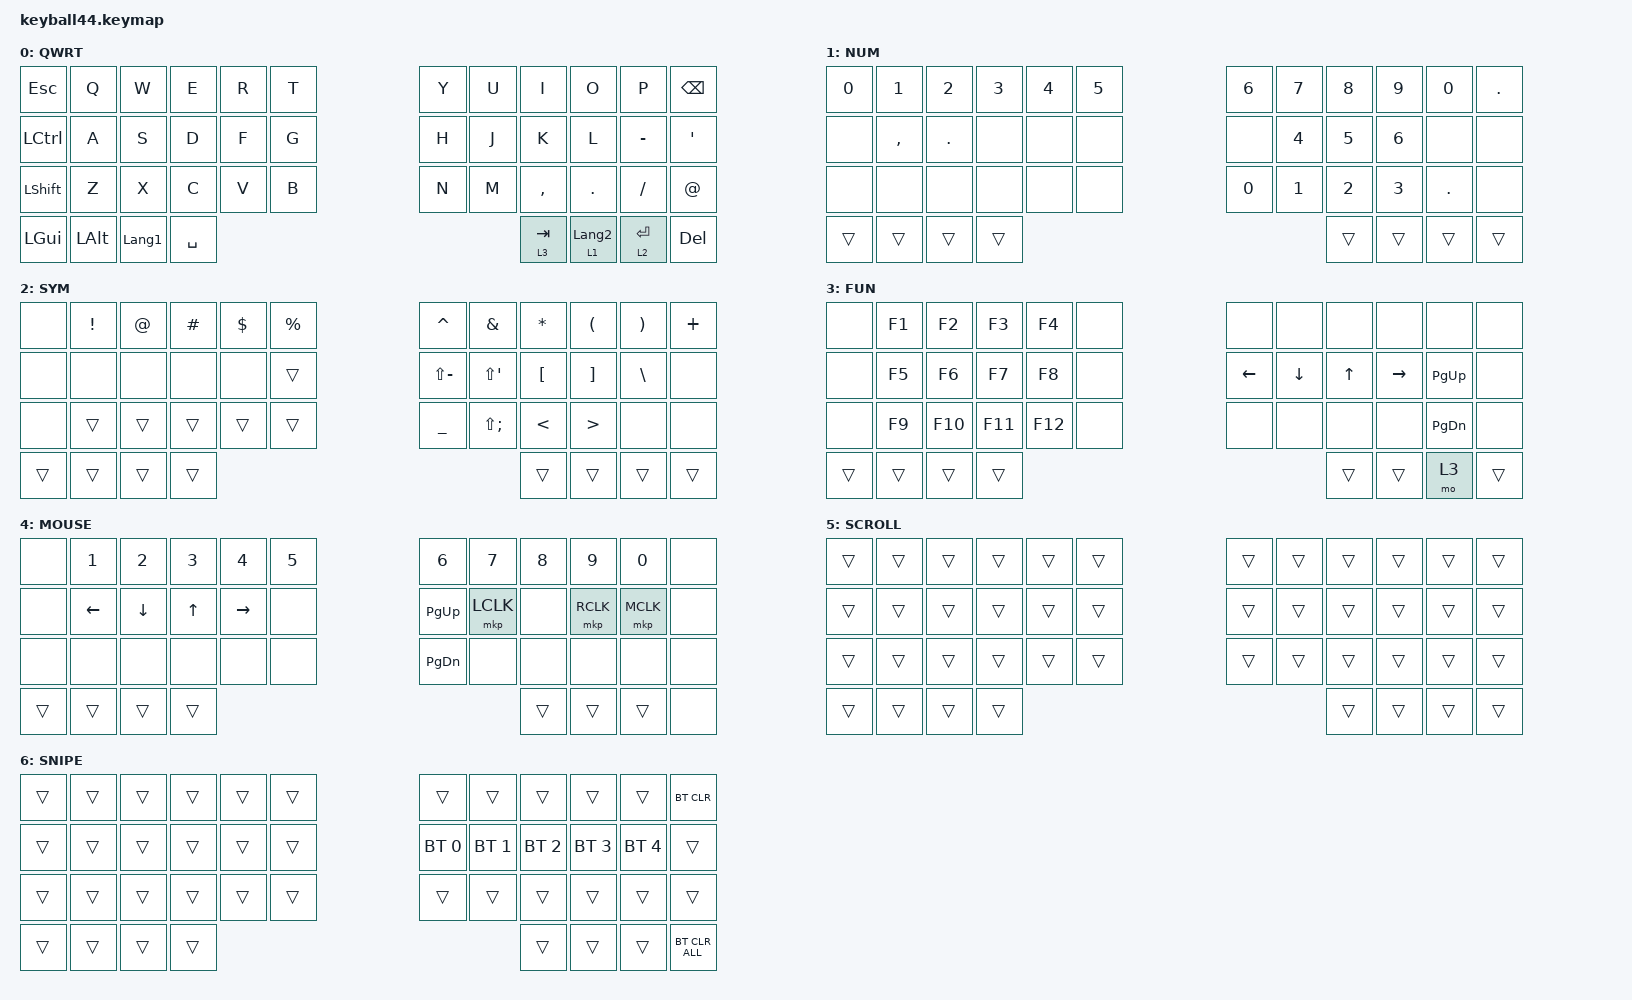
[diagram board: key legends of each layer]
#define DEFAULT 0
#define NUM     1
#define SYM     2
#define FUN     3
#define MOUSE   4
#define SCROLL  5
#define SNIPE   6

#include <behaviors/mouse_keys.dtsi>
#include <dt-bindings/zmk/mouse.h>
#include <behaviors.dtsi>
#include <dt-bindings/zmk/bt.h>
#include <dt-bindings/zmk/keys.h>
#include <dt-bindings/zmk/pointing.h>

&lt {
    tapping-term-ms = <240>;
    flavor = "balanced";
    quick-tap-ms = <150>;
};

&mt {
    tapping-term-ms = <200>;
    flavor = "tap-preferred";
    quick-tap-ms = <150>;
};

&caps_word { continue-list = <UNDERSCORE MINUS>; };

/ {
    // custom shift using mod-morph 

    behaviors {
        cmqus: comma_question {
            compatible = "zmk,behavior-mod-morph";
            label = "COMMA_QUESTION";
            #binding-cells = <0>;
            bindings = <&kp COMMA>, <&kp QUESTION>;

            mods = <(MOD_LSFT|MOD_RSFT)>;
        };

        dtsmi: dot_semi {
            compatible = "zmk,behavior-mod-morph";
            label = "DOT_SEMI";
            #binding-cells = <0>;
            bindings = <&kp DOT>, <&kp SEMI>;

            mods = <(MOD_LSFT|MOD_RSFT)>;
        };
    };

    combos {
        compatible = "zmk,combos";

        LClick {
            bindings = <&mkp LCLK>;
            key-positions = <19 20>;
        };

        RClick {
            bindings = <&mkp RCLK>;
            key-positions = <20 21>;
        };

        Tab {
            bindings = <&kp TAB>;
            key-positions = <2 1>;
        };

        BTControl {
            bindings = <&mo 6>;
            key-positions = <38 42>;
        };

        LRClick {
            bindings = <&mkp LCLK>;
            key-positions = <16 15>;
        };

        LLClick {
            bindings = <&mkp RCLK>;
            key-positions = <15 14>;
        };

        LMClick {
            bindings = <&mkp MCLK>;
            key-positions = <16 15 14>;
        };
    };

    keymap {
        compatible = "zmk,keymap";

        default_layer {
            label = "QWRT";
            bindings = <
&kp ESCAPE        &kp Q     &kp W           &kp E      &kp R      &kp T                        &kp Y        &kp U  &kp I      &kp O    &kp P      &kp BACKSPACE
&kp LEFT_CONTROL  &kp A     &kp S           &kp D      &kp F      &kp G                        &kp H        &kp J  &kp K      &kp L    &kp MINUS  &kp SQT
&kp LEFT_SHIFT    &kp Z     &kp X           &kp C      &kp V      &kp B                        &kp N        &kp M  &kp COMMA  &kp DOT  &kp SLASH  &kp AT
&kp LGUI          &kp LALT  &kp LANGUAGE_1  &kp SPACE  &lt 3 TAB             &lt 1 LANGUAGE_2  &lt 2 ENTER                                        &kp DELETE
            >;
        };

        number_layer {
            label = "NUM";
            bindings = <
&kp NUMBER_0  &kp NUMBER_1  &kp NUMBER_2  &kp NUMBER_3  &kp NUMBER_4  &kp NUMBER_5              &kp NUMBER_6  &kp NUMBER_7  &kp NUMBER_8  &kp NUMBER_9  &kp NUMBER_0  &kp PERIOD
&none         &kp COMMA     &kp PERIOD    &none         &none         &none                     &none         &kp NUMBER_4  &kp NUMBER_5  &kp NUMBER_6  &none         &none
&none         &none         &none         &none         &none         &none                     &kp NUMBER_0  &kp NUMBER_1  &kp NUMBER_2  &kp NUMBER_3  &kp PERIOD    &none
&trans        &trans        &trans        &trans        &trans                          &trans  &trans                                                                &trans
            >;
        };

        symbol_layer {
            label = "SYM";
            bindings = <
&none   &kp EXCLAMATION  &kp AT_SIGN  &kp HASH  &kp DOLLAR  &kp PERCENT              &kp CARET       &kp AMPERSAND  &kp ASTERISK      &kp LEFT_PARENTHESIS  &kp RIGHT_PARENTHESIS  &kp PLUS
&none   &none            &none        &none     &none       &trans                   &kp LS(MINUS)   &kp LS(APOS)   &kp LEFT_BRACKET  &kp RIGHT_BRACKET     &kp BACKSLASH          &none
&none   &trans           &trans       &trans    &trans      &trans                   &kp UNDERSCORE  &kp LS(SEMI)   &kp LESS_THAN     &kp GREATER_THAN      &none                  &none
&trans  &trans           &trans       &trans    &trans                       &trans  &trans                                                                                        &trans
            >;
        };

        function_layer {
            label = "FUN";
            bindings = <
&none   &kp F1  &kp F2   &kp F3   &kp F4   &none              &none     &none     &none   &none      &none          &none
&none   &kp F5  &kp F6   &kp F7   &kp F8   &none              &kp LEFT  &kp DOWN  &kp UP  &kp RIGHT  &kp PAGE_UP    &none
&none   &kp F9  &kp F10  &kp F11  &kp F12  &none              &none     &none     &none   &none      &kp PAGE_DOWN  &none
&trans  &trans  &trans   &trans   &trans              &trans  &mo 3                                                 &trans
            >;
        };

        mouse_layer {
            label = "MOUSE";
            bindings = <
&none   &kp N1          &kp N2          &kp N3        &kp N4     &kp N5              &kp N6         &kp N7     &kp N8  &kp N9     &kp N0     &none
&none   &kp LEFT_ARROW  &kp DOWN_ARROW  &kp UP_ARROW  &kp RIGHT  &none               &kp PAGE_UP    &mkp LCLK  &none   &mkp RCLK  &mkp MCLK  &none
&none   &none           &none           &none         &none      &none               &kp PAGE_DOWN  &none      &none   &none      &none      &none
&trans  &trans          &trans          &trans        &trans                 &trans  &trans                                                  &none
            >;
        };

        scroll_layer {
            label = "SCROLL";
            bindings = <
&trans  &trans  &trans  &trans  &trans  &trans              &trans  &trans  &trans  &trans  &trans  &trans
&trans  &trans  &trans  &trans  &trans  &trans              &trans  &trans  &trans  &trans  &trans  &trans
&trans  &trans  &trans  &trans  &trans  &trans              &trans  &trans  &trans  &trans  &trans  &trans
&trans  &trans  &trans  &trans  &trans              &trans  &trans                                  &trans
            >;
        };

        snipe_layer {
            label = "SNIPE";
            bindings = <
&trans  &trans  &trans  &trans  &trans  &trans              &trans        &trans        &trans        &trans        &trans        &bt BT_CLR
&trans  &trans  &trans  &trans  &trans  &trans              &bt BT_SEL 0  &bt BT_SEL 1  &bt BT_SEL 2  &bt BT_SEL 3  &bt BT_SEL 4  &trans
&trans  &trans  &trans  &trans  &trans  &trans              &trans        &trans        &trans        &trans        &trans        &trans
&trans  &trans  &trans  &trans  &trans              &trans  &trans                                                                &bt BT_CLR_ALL
            >;
        };
    };
};
